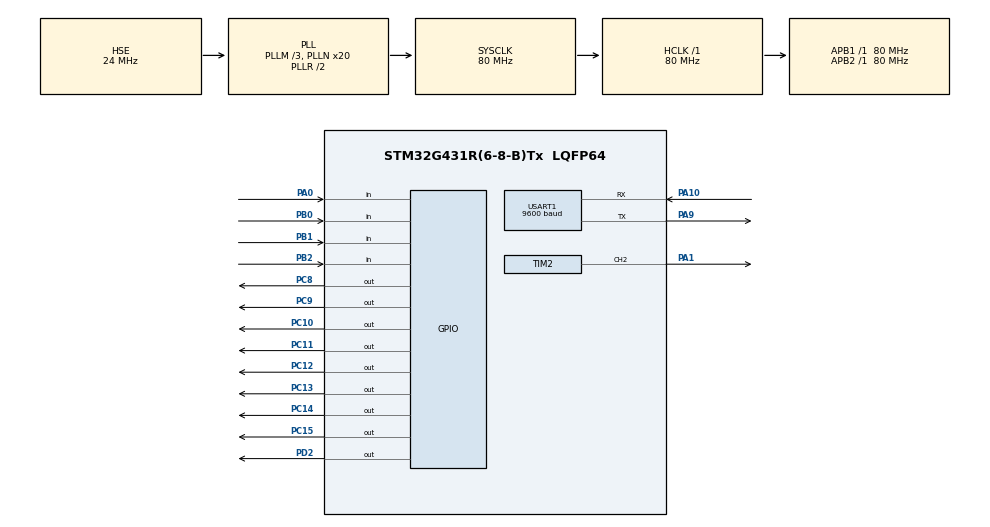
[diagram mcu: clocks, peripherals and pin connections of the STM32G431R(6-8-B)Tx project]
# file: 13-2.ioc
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Mcu.Family=STM32G4
Mcu.Name=STM32G431R(6-8-B)Tx
Mcu.Package=LQFP64
NVIC.PriorityGroup=NVIC_PRIORITYGROUP_4
NVIC.USART1_IRQn=true\:0\:0\:false\:false\:true\:true\:true\:true
PA0.GPIO_PuPd=GPIO_PULLUP
PA0.Signal=GPIO_Input
PA1.Signal=S_TIM2_CH2
PA10.Mode=Asynchronous
PA10.Signal=USART1_RX
PA13.Mode=Serial_Wire
PA13.Signal=SYS_JTMS-SWDIO
PA14.Mode=Serial_Wire
PA14.Signal=SYS_JTCK-SWCLK
PA9.Mode=Asynchronous
PA9.Signal=USART1_TX
PB0.GPIO_PuPd=GPIO_PULLUP
PB0.Signal=GPIO_Input
PB1.GPIO_PuPd=GPIO_PULLUP
PB1.Signal=GPIO_Input
PB2.GPIO_PuPd=GPIO_PULLUP
PB2.Signal=GPIO_Input
PC10.PinState=GPIO_PIN_SET
PC10.Signal=GPIO_Output
PC11.PinState=GPIO_PIN_SET
PC11.Signal=GPIO_Output
PC12.PinState=GPIO_PIN_SET
PC12.Signal=GPIO_Output
PC13.PinState=GPIO_PIN_SET
PC13.Signal=GPIO_Output
PC14-OSC32_IN.PinState=GPIO_PIN_SET
PC14-OSC32_IN.Signal=GPIO_Output
PC15-OSC32_OUT.PinState=GPIO_PIN_SET
PC15-OSC32_OUT.Signal=GPIO_Output
PC8.PinState=GPIO_PIN_SET
PC8.Signal=GPIO_Output
PC9.PinState=GPIO_PIN_SET
PC9.Signal=GPIO_Output
PD2.PinState=GPIO_PIN_SET
PD2.Signal=GPIO_Output
PF0-OSC_IN.Mode=HSE-External-Oscillator
PF0-OSC_IN.Signal=RCC_OSC_IN
PF1-OSC_OUT.Mode=HSE-External-Oscillator
PF1-OSC_OUT.Signal=RCC_OSC_OUT
ProjectManager.HeapSize=0x200
ProjectManager.StackSize=0x400
ProjectManager.TargetToolchain=MDK-ARM V5.32
RCC.ADC12Freq_Value=80000000
RCC.AHBFreq_Value=80000000
RCC.APB1Freq_Value=80000000
RCC.APB1TimFreq_Value=80000000
RCC.APB2Freq_Value=80000000
RCC.APB2TimFreq_Value=80000000
RCC.CortexFreq_Value=80000000
RCC.EXTERNAL_CLOCK_VALUE=12288000
RCC.HCLKFreq_Value=80000000
RCC.HSE_VALUE=24000000
RCC.HSI48_VALUE=48000000
RCC.HSI_VALUE=16000000
RCC.LSE_VALUE=32768
RCC.PLLM=RCC_PLLM_DIV3
RCC.PLLN=20
RCC.PLLSourceVirtual=RCC_PLLSOURCE_HSE
RCC.SYSCLKFreq_VALUE=80000000
RCC.SYSCLKSource=RCC_SYSCLKSOURCE_PLLCLK
RCC.USBFreq_Value=80000000
RCC.VCOOutputFreq_Value=160000000
SH.S_TIM2_CH2.0=TIM2_CH2,PWM Generation2 CH2
TIM2.Channel-PWM\ Generation2\ CH2=TIM_CHANNEL_2
TIM2.PeriodNoDither=99
TIM2.Prescaler=799
USART1.BaudRate=9600
USART1.VirtualMode-Asynchronous=VM_ASYNC
VP_SYS_VS_DBSignals.Mode=DisableDeadBatterySignals
board=custom

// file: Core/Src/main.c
/* USER CODE BEGIN Header */
/**
  ******************************************************************************
  * @file           : main.c
  * @brief          : Main program body
  ******************************************************************************
  * @attention
  *
  * Copyright (c) 2026 STMicroelectronics.
  * All rights reserved.
  *
  * This software is licensed under terms that can be found in the LICENSE file
  * in the root directory of this software component.
  * If no LICENSE file comes with this software, it is provided AS-IS.
  *
  ******************************************************************************
  */
/* USER CODE END Header */
#include "main.h"
#include "tim.h"
#include "usart.h"
#include "gpio.h"

/* USER CODE BEGIN Includes */
#include "fun.h"
/* USER CODE END Includes */

void SystemClock_Config(void);

int main(void)
{

  /* MCU Configuration--------------------------------------------------------*/

  /* Reset of all peripherals, Initializes the Flash interface and the Systick. */
  HAL_Init();

  /* Configure the system clock */
  SystemClock_Config();

  /* Initialize all configured peripherals */
  MX_GPIO_Init();
  MX_TIM2_Init();
	I2CInit();
  MX_USART1_UART_Init();
  /* USER CODE BEGIN 2 */
	HAL_TIM_PWM_Start(&htim2,TIM_CHANNEL_2);
	HAL_UART_Receive_IT(&huart1,&rx_data,1);
  eeprom_init();
	TIM2->PSC = 80000000/(2000*100);
	TIM2->CCR2 = (TIM2->ARR + 1) * (5 / 100.0f);
		led_Disp(0x00);
    LCD_Init();

    LCD_SetBackColor(Black);
    LCD_SetTextColor(White);
		LCD_Clear(Black);
  /* USER CODE END 2 */

  /* Infinite loop */
  /* USER CODE BEGIN WHILE */
  while (1)
  {

		key_scan();
		yes_shop();
		led0();
		lcd_show();

    /* USER CODE END WHILE */

  }
}

void SystemClock_Config(void)
{
  RCC_OscInitTypeDef RCC_OscInitStruct = {0};
  RCC_ClkInitTypeDef RCC_ClkInitStruct = {0};

  /** Configure the main internal regulator output voltage
  */
  HAL_PWREx_ControlVoltageScaling(PWR_REGULATOR_VOLTAGE_SCALE1);

  /** Initializes the RCC Oscillators according to the specified parameters
  * in the RCC_OscInitTypeDef structure.
  */
  RCC_OscInitStruct.OscillatorType = RCC_OSCILLATORTYPE_HSE;
  RCC_OscInitStruct.HSEState = RCC_HSE_ON;
  RCC_OscInitStruct.PLL.PLLState = RCC_PLL_ON;
  RCC_OscInitStruct.PLL.PLLSource = RCC_PLLSOURCE_HSE;
  RCC_OscInitStruct.PLL.PLLM = RCC_PLLM_DIV3;
  RCC_OscInitStruct.PLL.PLLN = 20;
  RCC_OscInitStruct.PLL.PLLP = RCC_PLLP_DIV2;
  RCC_OscInitStruct.PLL.PLLQ = RCC_PLLQ_DIV2;
  RCC_OscInitStruct.PLL.PLLR = RCC_PLLR_DIV2;
  if (HAL_RCC_OscConfig(&RCC_OscInitStruct) != HAL_OK)
  {
    Error_Handler();
  }

  /** Initializes the CPU, AHB and APB buses clocks
  */
  RCC_ClkInitStruct.ClockType = RCC_CLOCKTYPE_HCLK|RCC_CLOCKTYPE_SYSCLK
                              |RCC_CLOCKTYPE_PCLK1|RCC_CLOCKTYPE_PCLK2;
  RCC_ClkInitStruct.SYSCLKSource = RCC_SYSCLKSOURCE_PLLCLK;
  RCC_ClkInitStruct.AHBCLKDivider = RCC_SYSCLK_DIV1;
  RCC_ClkInitStruct.APB1CLKDivider = RCC_HCLK_DIV1;
  RCC_ClkInitStruct.APB2CLKDivider = RCC_HCLK_DIV1;

  if (HAL_RCC_ClockConfig(&RCC_ClkInitStruct, FLASH_LATENCY_2) != HAL_OK)
  {
    Error_Handler();
  }
}

void Error_Handler(void)
{
  __disable_irq();
  while (1)
  {
  }
}
